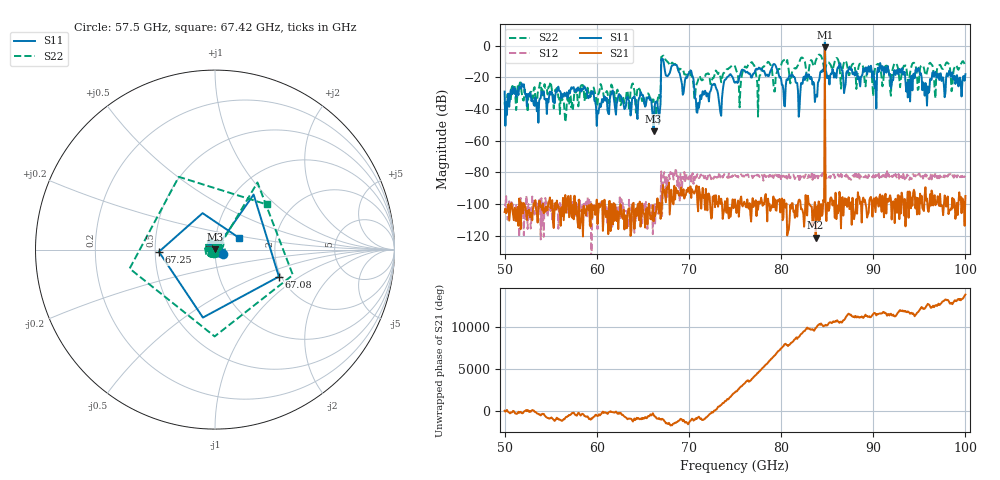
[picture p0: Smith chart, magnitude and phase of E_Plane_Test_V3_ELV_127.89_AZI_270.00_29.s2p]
! 11/26/2026 4:18:41 PM
! C:\ANRITSUVNA\TEMP\TEMP.S2P
! CHANNEL.1
! TR.MEASUREMENT
! RAW.DATA
# HZ S RI R 50.0
! FREQ.HZ  S11RE  S11IM  S21RE  S21IM  S12RE  S12IM  S22RE  S22IM
!; PortSelection: Port_12
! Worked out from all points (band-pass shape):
!   601 points, 50 GHz to 100 GHz, reference 50 ohm
!   highest |S21| = -1.01 dB at 84.75 GHz (marker M1); lowest = -121.3 dB at 83.75 GHz (marker M2)
!   |S21| within 3 dB of the highest: 84.74744 GHz to 84.75244 GHz (5.009 MHz wide, 0.00591 % of centre)
!   lowest |S11| = -54.0 dB at 66.17 GHz (marker M3), VSWR 1.00, Z = 50.1 + j0.145 ohm
!   |S11| at or under -10 dB: start of sweep to 67 GHz; 67.25 GHz to 84.69 GHz (17.45 GHz wide, 23 % of centre); 84.81 GHz to end of sweep
!   |S22| runs from -48.2 to -5.6 dB; largest |S21 - S12| = 0.89
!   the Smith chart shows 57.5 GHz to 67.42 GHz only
!   S11 on the Smith chart (normalised r, x): 57.5 GHz: 1.09, -0.05; 67.08 GHz: 1.95, -0.69; 67.25 GHz: 0.52, -0.01; 67.42 GHz: 1.29, +0.18
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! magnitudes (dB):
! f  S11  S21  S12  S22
! 50 GHz  -28.9  -105.0  -100.4  -35.7
! 57.5 GHz  -26.1  -109.6  -96.4  -34.6
! 58.42 GHz  -27.1  -103.3  -104.9  -24.7
! 60.17 GHz  -42.8  -105.5  -100.7  -30.4
! 66.17 GHz  -54.0  -110.9  -101.3  -34.0
! 66.67 GHz  -41.5  -101.0  -106.2  -31.6
! 67.08 GHz  -8.3  -99.7  -107.6  -6.8
! 67.25 GHz  -10.1  -92.4  -81.7  -6.2
! 67.42 GHz  -16.6  -94.8  -86.9  -8.3
! 70.25 GHz  -15.9  -96.1  -85.8  -18.8
! 70.92 GHz  -42.3  -99.1  -81.1  -23.1
! 75 GHz  -23.3  -97.1  -81.7  -13.0
! 79.25 GHz  -11.5  -102.0  -81.8  -28.9
! 80.25 GHz  -27.9  -108.7  -82.1  -9.3
! 83.42 GHz  -24.5  -113.7  -84.7  -10.8
! 83.75 GHz  -31.5  -121.3  -82.4  -9.6
! 84.75 GHz  3.4  -1.0  -82.3  -16.6
! 85.08 GHz  -18.9  -99.1  -83.0  -10.4
! 91.67 GHz  -16.7  -98.5  -81.1  -15.2
! 94.83 GHz  -15.0  -96.1  -81.6  -27.9
! 95.83 GHz  -37.8  -96.5  -81.7  -16.5
! 100 GHz  -18.0  -94.9  -82.3  -12.6
